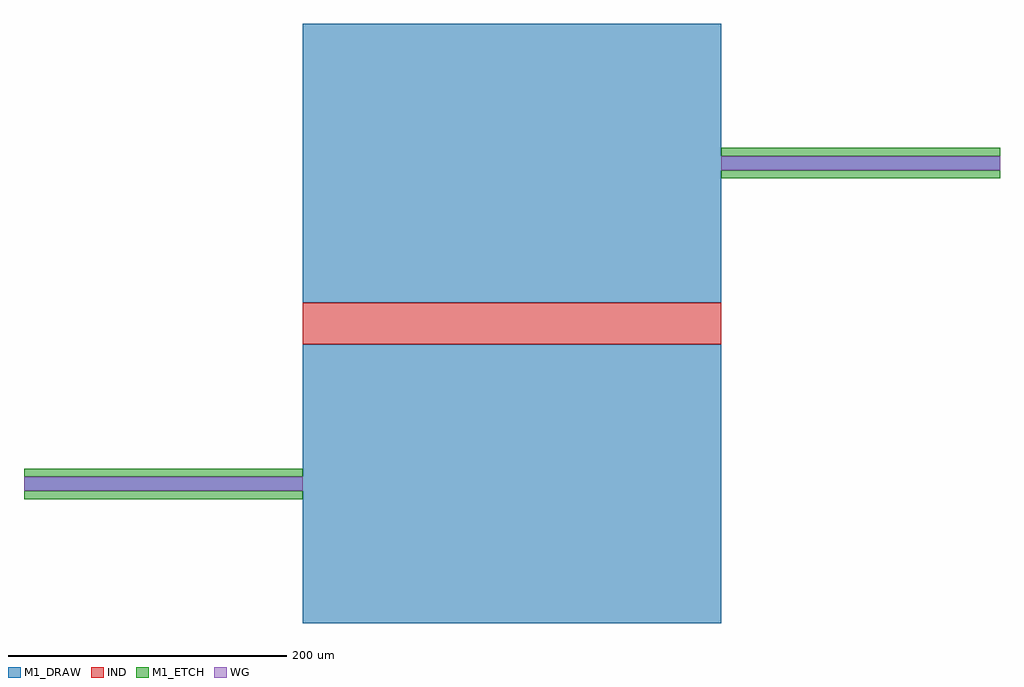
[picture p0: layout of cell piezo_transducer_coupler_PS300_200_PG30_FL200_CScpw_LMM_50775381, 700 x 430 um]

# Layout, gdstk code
from math import pi, radians
import gdstk
lib = gdstk.Library(unit=1e-6, precision=1e-09)
def R(c, l, rs):  # rectangles x0, y0, x1, y1
    for r in rs: c.add(gdstk.rectangle(r[:2], r[2:], *l))
M1_DRAW = (1, 0)
M1_ETCH = (1, 1)
IND = (30, 0)
WG = (102, 0)

rectangle_gdsfactorypcom = lib.new_cell('rectangle_gdsfactorypcomponentspshapesprectangle_S300_2_babed08b')
R(rectangle_gdsfactorypcom, M1_DRAW, [(0,0,300,200)])

c_rectangle_gdsfactorypcom = lib.new_cell('rectangle_gdsfactorypcomponentspshapesprectangle_S300_3_d9a66d6e')
R(c_rectangle_gdsfactorypcom, IND, [(0,0,300,30)])

straight_l200_cscpw_n2 = lib.new_cell('straight_L200_CScpw_N2')
R(straight_l200_cscpw_n2, M1_DRAW, [(0,-5,200,5)])
R(straight_l200_cscpw_n2, M1_ETCH, [(0,-11,200,-5), (0,5,200,11)])
R(straight_l200_cscpw_n2, WG, [(0,-5,200,5)])

piezo_transducer_coupler = lib.new_cell('piezo_transducer_coupler_PS300_200_PG30_FL200_CScpw_LMM_50775381')
piezo_transducer_coupler.add(gdstk.Reference(rectangle_gdsfactorypcom, (-150,15)))
piezo_transducer_coupler.add(gdstk.Reference(rectangle_gdsfactorypcom, (-150,-215)))
piezo_transducer_coupler.add(gdstk.Reference(c_rectangle_gdsfactorypcom, (-150,-15)))
piezo_transducer_coupler.add(gdstk.Reference(straight_l200_cscpw_n2, (150,115)))
piezo_transducer_coupler.add(gdstk.Reference(straight_l200_cscpw_n2, (-150,-115), rotation=pi))

lib.write_gds('piezo_transducer_coupler_PS300_200_PG30_FL200_CScpw_LMM_50775381.gds')
